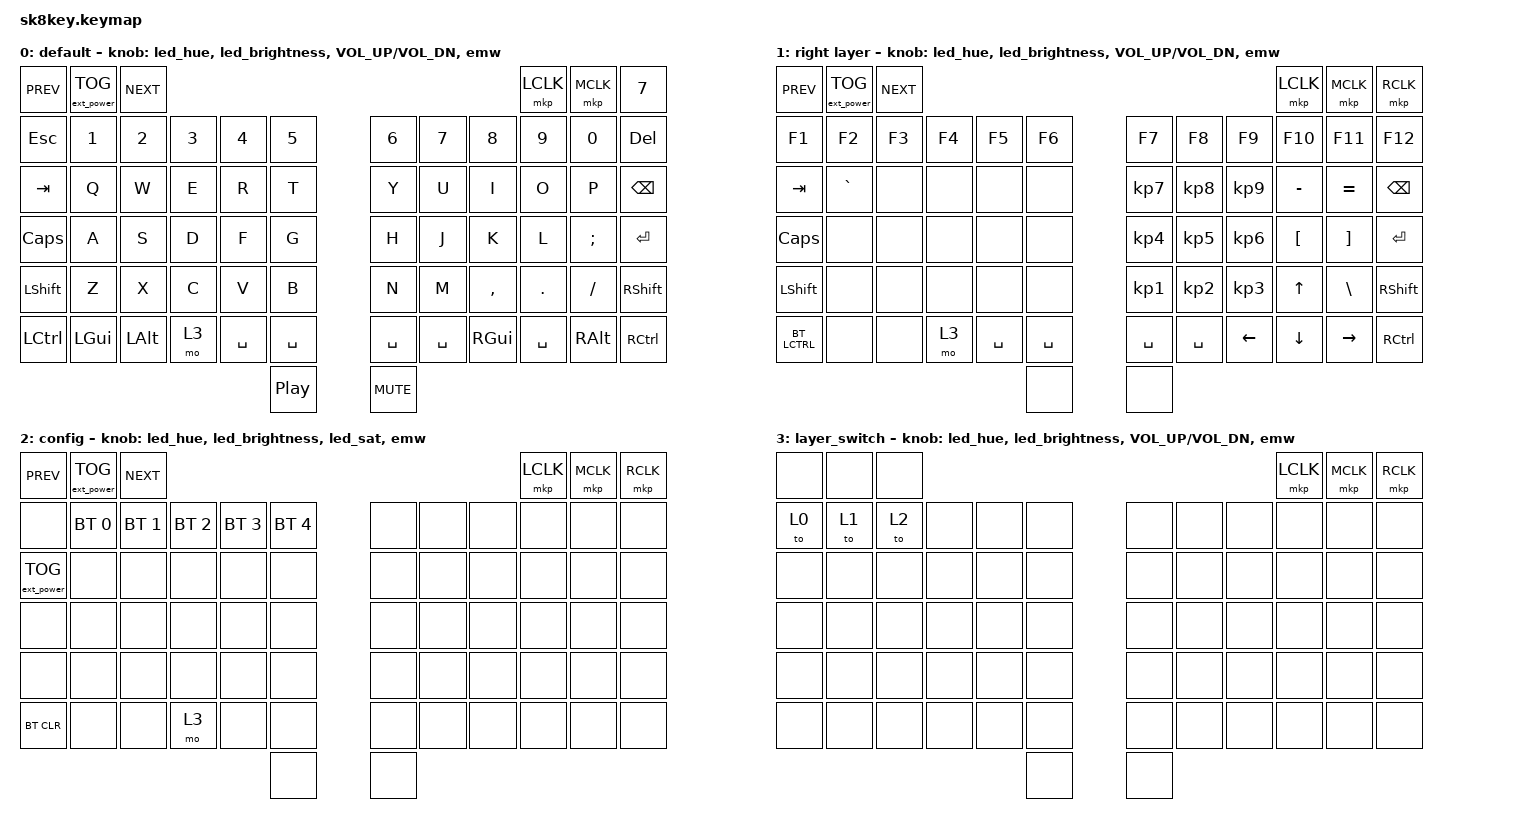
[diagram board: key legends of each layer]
#include <behaviors.dtsi>
#include <dt-bindings/zmk/keys.h>
#include <dt-bindings/zmk/bt.h>
#include <dt-bindings/zmk/rgb.h>
#include <dt-bindings/zmk/pointing.h>
#include <dt-bindings/zmk/mouse.h>
//#define ZMK_POINTING_DEFAULT_SCRL_VAL 100
#include <dt-bindings/zmk/ext_power.h>
#define MOUSE 6

/ {

    behaviors {
        emw: encoder_mousewheel {
            compatible = "zmk,behavior-sensor-rotate";
            #sensor-binding-cells = <0>;
            tap-ms = <20>;
            bindings = <&msc SCRL_DOWN>, <&msc SCRL_UP>;
        };

        led_brightness: led_brightness {
            compatible = "zmk,behavior-sensor-rotate";
            #sensor-binding-cells = <0>;
            tap-ms = <20>;
            bindings = <&rgb_ug RGB_BRI>, <&rgb_ug RGB_BRD>;
        };

        led_hue: hue {
            compatible = "zmk,behavior-sensor-rotate";
            #sensor-binding-cells = <0>;
            tap-ms = <20>;
            bindings = <&rgb_ug RGB_HUI>, <&rgb_ug RGB_HUD>;
        };

        led_sat: led_saturation {
          compatible = "zmk,behavior-sensor-rotate";
          #sensor-binding-cells = <0>;
          tap-ms = <20>;
          bindings = <&rgb_ug RGB_SAI>, <&rgb_ug RGB_SAD>;
        };
    };

    keymap {
        compatible = "zmk,keymap";

        default_layer {
            label = "default";
            bindings = <
                                           &kp C_PREV   &ext_power EP_TOG   &kp C_NEXT                                                                                             &mkp LCLK     &mkp MCLK     &kp N7
                     &kp ESC          &kp N1        &kp N2      &kp N3       &kp N4              &kp N5                           &kp N6              &kp N7             &kp N8             &kp N9            &kp N0            &kp DEL
                     &kp TAB          &kp Q         &kp W       &kp E          &kp R                &kp T                             &kp Y                 &kp U              &kp I                 &kp O             &kp P               &kp BACKSPACE
                     &kp CLCK        &kp A          &kp S       &kp D          &kp F                &kp G                             &kp H                 &kp J              &kp K                &kp L              &kp SEMI         &kp ENTER
                     &kp LSHIFT     &kp Z           &kp X       &kp C         &kp V                &kp B                              &kp N                 &kp M             &kp COMMA     &kp PERIOD    &kp SLASH     &kp RSHIFT
                     &kp LCTRL      &kp LGUI     &kp LALT    &mo 3      &kp SPACE       &kp SPACE                     &kp SPACE         &kp SPACE     &kp RGUI           &kp SPACE     &kp RALT        &kp RCTRL
                                                                                                                            &kp C_PP                        &kp C_MUTE
            >;
            sensor-bindings = <&led_hue &led_brightness  &inc_dec_kp C_VOL_UP C_VOL_DN &emw>;
        };


        layer_1 {
            label = "right layer";
            bindings = <
                                                           &kp C_PREV   &ext_power EP_TOG   &kp C_NEXT                                                                                                                                    &mkp LCLK          &mkp MCLK         &mkp RCLK
                     &kp F1                            &kp F2               &kp F3                &kp F4                 &kp F5                &kp F6                          &kp F7                   &kp F8                     &kp F9                       &kp F10                   &kp F11                      &kp F12
                     &kp TAB                         &kp GRAVE         &none                &none                  &none                 &none                           &kp KP_N7             &kp KP_N8               &kp KP_N9                 &kp MINUS              &kp EQUAL                &kp BACKSPACE
                     &kp CLCK                       &none                &none                 &none                  &none                 &none                           &kp KP_N4             &kp KP_N5               &kp KP_N6                &kp LBKT                 &kp RBKT                  &kp ENTER
                     &kp LSHIFT                    &none                &none                 &none                  &none                 &none                           &kp KP_N1              &kp KP_N2               &kp KP_N3                &kp UP                     &kp BSLH                  &kp RSHIFT
                     &bt LCTRL                    &none                &none                 &mo 3                  &kp SPACE         &kp SPACE                    &kp SPACE             &kp SPACE              &kp LEFT                  &kp DOWN               &kp RIGHT                 &kp RCTRL
                                                                                                                                                                       &none                           &none
            >;
            sensor-bindings = <&led_hue &led_brightness  &inc_dec_kp C_VOL_UP C_VOL_DN &emw>;
        };

        config_layer {
            label = "config";
            bindings = <
                                                            &kp C_PREV   &ext_power EP_TOG   &kp C_NEXT                                                                                                                         &mkp LCLK          &mkp MCLK      &mkp RCLK
                     &none                            &bt BT_SEL 0     &bt BT_SEL 1      &bt BT_SEL 2       &bt BT_SEL 3      &bt BT_SEL 4                &none               &none                 &none                  &none             &none             &none
                     &ext_power EP_TOG      &none                &none                 &none                  &none                 &none                           &none               &none                 &none                  &none             &none             &none
                     &none                            &none                &none                 &none                  &none                 &none                           &none               &none                 &none                  &none             &none             &none
                     &none                            &none                &none                 &none                  &none                 &none                           &none               &none                 &none                  &none             &none             &none
                     &bt BT_CLR                    &none                &none                 &mo 3                  &none                 &none                           &none               &none                 &none                 &none              &none             &none
                                                                                                                                                                        &none                           &none
            >;
            sensor-bindings = <&led_hue &led_brightness  &led_sat &emw>;
        };


        layer_switch {
            label = "layer_switch";
            bindings = <
                                               &none            &none             &none                                                                                                                    &mkp LCLK         &mkp MCLK         &mkp RCLK
                     &to 0                 &to 1               &to 2              &none             &none             &none                       &none               &none            &none             &none             &none             &none
                     &none               &none            &none             &none             &none             &none                       &none               &none            &none             &none             &none             &none
                     &none               &none            &none             &none             &none             &none                       &none               &none            &none             &none             &none             &none
                     &none               &none            &none             &none             &none             &none                       &none               &none            &none             &none             &none             &none
                     &none               &none            &none             &none             &none             &none                       &none               &none            &none             &none             &none             &none
                                                                                                                                          &none                       &none
            >;
            sensor-bindings = <&led_hue &led_brightness  &inc_dec_kp C_VOL_UP C_VOL_DN &emw>;
        };
    };
};

&led_strip {
    chain-length = <32>;
};
